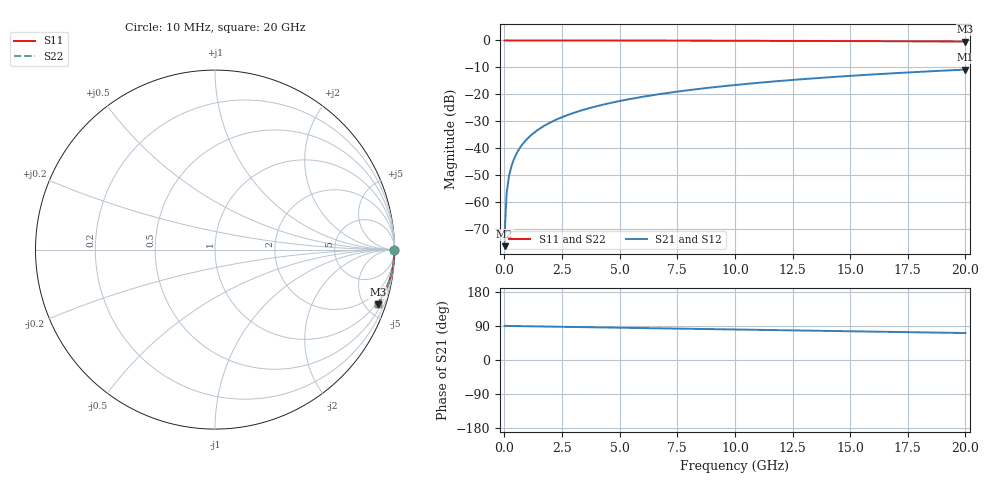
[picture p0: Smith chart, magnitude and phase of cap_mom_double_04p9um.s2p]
#  GHZ S DB R 50
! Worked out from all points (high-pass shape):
!   202 points, 10 MHz to 20 GHz, reference 50 ohm
!   highest |S21| = -10.83 dB at 20 GHz (marker M1); lowest = -76.5 dB at 10 MHz (marker M2)
!   |S21| within 3 dB of the highest: 13.84 GHz to end of sweep
!   lowest |S11| = -0.4 dB at 20 GHz (marker M3), VSWR 44.66, Z = 42.2 - j300 ohm
!   |S11| at or under -10 dB: nowhere
!   |S22| runs from -0.4 to 0.0 dB; largest |S21 - S12| = 6.7e-14
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0.01  -0.00 -0.0  -76.50 90.0  -76.50 90.0  -0.00 -0.0
0.02  -0.00 -0.0  -70.48 90.0  -70.48 90.0  -0.00 -0.0
0.1  -0.00 -0.1  -56.50 89.9  -56.50 89.9  -0.00 -0.1
0.2  -0.00 -0.2  -50.48 89.8  -50.48 89.8  -0.00 -0.2
0.3  -0.00 -0.3  -46.95 89.7  -46.95 89.7  -0.00 -0.3
0.4  -0.00 -0.4  -44.46 89.6  -44.46 89.6  -0.00 -0.4
0.5  -0.00 -0.5  -42.52 89.6  -42.52 89.6  -0.00 -0.5
0.6  -0.00 -0.6  -40.93 89.5  -40.93 89.5  -0.00 -0.6
0.8  -0.00 -0.8  -38.43 89.3  -38.43 89.3  -0.00 -0.8
1  -0.00 -1.0  -36.49 89.1  -36.49 89.1  -0.00 -1.0
1.3  -0.00 -1.2  -34.21 88.8  -34.21 88.8  -0.00 -1.2
1.6  -0.00 -1.5  -32.41 88.5  -32.41 88.5  -0.00 -1.5
2  -0.00 -1.9  -30.47 88.2  -30.47 88.2  -0.00 -1.9
2.4  -0.01 -2.3  -28.89 87.8  -28.89 87.8  -0.01 -2.3
3.4  -0.01 -3.2  -25.86 86.8  -25.86 86.8  -0.01 -3.3
4.9  -0.03 -4.7  -22.69 85.4  -22.69 85.4  -0.03 -4.7
6.7  -0.05 -6.4  -19.99 83.6  -19.99 83.6  -0.05 -6.4
8.3  -0.07 -7.9  -18.16 82.1  -18.16 82.1  -0.07 -7.9
10.1  -0.10 -9.6  -16.48 80.4  -16.48 80.4  -0.10 -9.6
13.4  -0.18 -12.6  -14.10 77.2  -14.10 77.2  -0.18 -12.7
16.7  -0.28 -15.6  -12.28 74.2  -12.28 74.2  -0.28 -15.7
20  -0.39 -18.6  -10.83 71.2  -10.83 71.2  -0.39 -18.6
